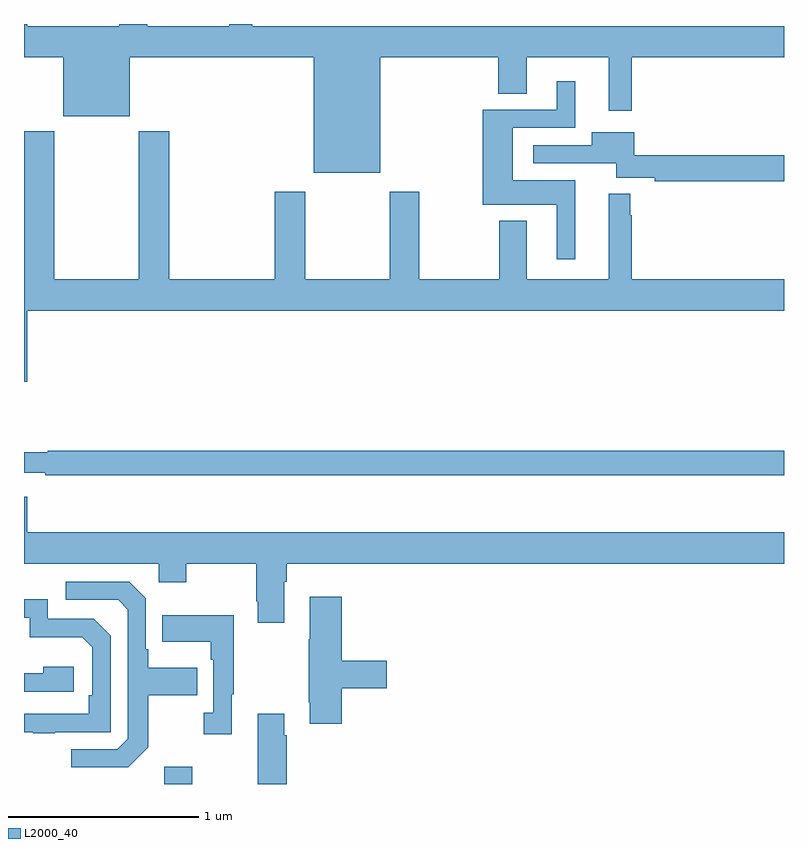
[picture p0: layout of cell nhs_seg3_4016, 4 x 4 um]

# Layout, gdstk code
import gdstk
lib = gdstk.Library(unit=1e-6, precision=1e-09)
def R(c, l, rs):  # rectangles x0, y0, x1, y1
    for r in rs: c.add(gdstk.rectangle(r[:2], r[2:], *l))
def P(c, l, *ps):  # polygons
    for p in ps: c.add(gdstk.Polygon(p, *l))
L2000_40 = (2000, 40)

nhs_seg3_4016 = lib.new_cell('nhs_seg3_4016')
R(nhs_seg3_4016, L2000_40, [(321.737,722.4,321.885,722.491)])
P(nhs_seg3_4016, L2000_40, [(322.876,726.224),(323.495,726.224),(323.495,726.034),(323.647,726.034),(323.647,726.224),(324.077,726.224),(324.077,725.943),(324.199,725.943),(324.199,726.224),(325,726.224),(325,726.388),(322.201,726.388),(322.201,726.4),(322.079,726.4),(322.079,726.388),(321.649,726.388),(321.649,726.4),(321.502,726.4),(321.502,726.388),(321.016,726.388),(321.016,726.4),(321,726.4),(321,726.224),(321.206,726.224),(321.206,725.915),(321.556,725.915),(321.556,726.224),(322.526,726.224),(322.526,725.618),(322.876,725.618)],
  [(323.902,725.578),(323.572,725.578),(323.572,725.853),(323.902,725.853),(323.902,726.1),(323.804,726.1),(323.804,725.949),(323.414,725.949),(323.414,725.45),(323.804,725.45),(323.804,725.163),(323.902,725.163)],
  [(321.016,724.892),(325,724.892),(325,725.056),(324.199,725.056),(324.199,725.393),(324.19,725.393),(324.19,725.506),(324.077,725.506),(324.077,725.056),(323.647,725.056),(323.647,725.365),(323.5,725.365),(323.5,725.056),(323.079,725.056),(323.079,725.518),(322.924,725.518),(322.924,725.056),(322.479,725.056),(322.479,725.518),(322.319,725.518),(322.319,725.056),(321.764,725.056),(321.764,725.836),(321.604,725.836),(321.604,725.056),(321.159,725.056),(321.159,725.836),(321,725.836),(321,724.518),(321.016,724.518)],
  [(325,725.708),(324.213,725.708),(324.213,725.83),(323.987,725.83),(323.987,725.763),(323.679,725.763),(323.679,725.667),(324.117,725.667),(324.117,725.592),(324.32,725.592),(324.32,725.572),(325,725.572)],
  [(325,724.154),(321.124,724.154),(321.124,724.147),(321,724.147),(321,724.038),(321.112,724.038),(321.112,724.026),(325,724.026)],
  [(322.369,723.464),(322.382,723.464),(322.382,723.56),(325,723.56),(325,723.724),(321.016,723.724),(321.016,723.913),(321,723.913),(321,723.56),(321.708,723.56),(321.708,723.461),(321.855,723.461),(321.855,723.56),(322.222,723.56),(322.222,723.361),(322.229,723.361),(322.229,723.249),(322.369,723.249)],
  [(321.655,722.593),(321.655,722.866),(321.911,722.866),(321.911,723.013),(321.655,723.013),(321.655,723.109),(321.642,723.109),(321.642,723.378),(321.555,723.465),(321.219,723.465),(321.219,723.369),(321.495,723.369),(321.546,723.318),(321.546,722.637),(321.492,722.583),(321.249,722.583),(321.249,722.487),(321.549,722.487)],
  [(322.673,722.903),(322.909,722.903),(322.909,723.05),(322.673,723.05),(322.673,723.385),(322.505,723.385),(322.505,723.161),(322.498,723.161),(322.498,722.83),(322.505,722.83),(322.505,722.718),(322.673,722.718)],
  [(321.161,722.673),(321.456,722.673),(321.456,723.18),(321.366,723.27),(321.126,723.27),(321.126,723.372),(321,723.372),(321,723.276),(321.03,723.276),(321.03,723.173),(321.307,723.173),(321.36,723.12),(321.36,722.866),(321.34,722.866),(321.34,722.769),(321,722.769),(321,722.673),(321.049,722.673),(321.049,722.668),(321.161,722.668)],
  [(322.093,722.873),(322.105,722.873),(322.105,723.289),(321.727,723.289),(321.727,723.149),(321.984,723.149),(321.984,723.053),(321.996,723.053),(321.996,722.774),(321.945,722.774),(321.945,722.661),(322.093,722.661)],
  [(321.262,723.016),(321.101,723.016),(321.101,722.982),(321,722.982),(321,722.886),(321.262,722.886)],
  [(322.382,722.657),(322.369,722.657),(322.369,722.77),(322.229,722.77),(322.229,722.4),(322.382,722.4)])

lib.write_gds('nhs_seg3_4016.gds')
